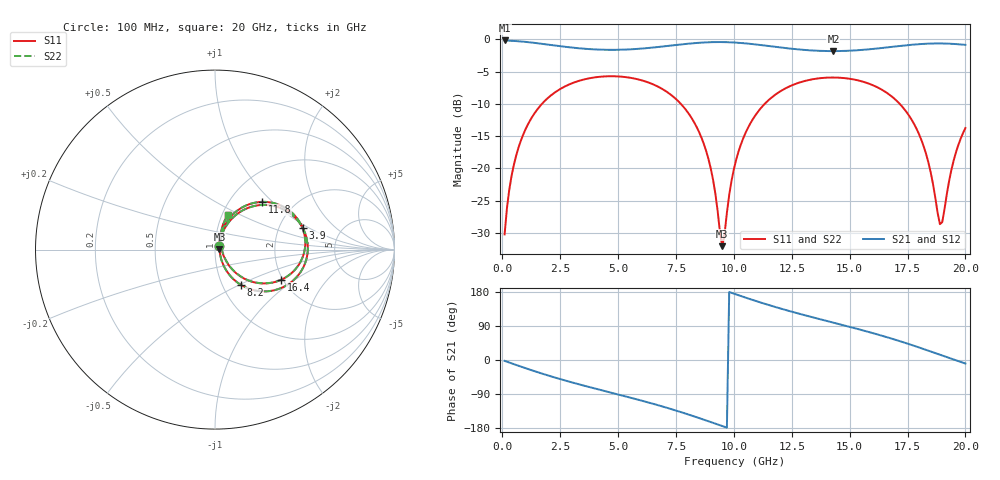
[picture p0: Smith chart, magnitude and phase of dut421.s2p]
! Touchstone file exported from HFSS 2026.1.0
!  File:  C:/ffzhzh/LocalFiles/Ansys_Project_Files/temp_train_TSV_RDL_421_1783095735_50312.aedt
!  Generated:  12:36:20 AM Jul  4, 2026
!  Design:  TSV_RDL
!  Project:  temp_train_TSV_RDL_421_1783095735_50312
! Variables:
!  h_bsmrdl = 5.95um
!  h_ox = 20um
!  h_rdl = 5um
!  h_sub = 50.88um
!  h_tmrdl = 3.98um
!  h_tsv = 50.88um
!  h_via = 3um
!  l_bsmrdl = 965.18um
!  l_sub = 6599.55um
!  l_tmrdl = 789.05um
!  m_sub = 200um
!  pitch = 51.45um
!  r_tsv = 7.03um
!  s_tmrdl = 10um
!  w_bsmrdl = 28.48um
!  w_sub = 500um
!  w_tmrdl = 20.79um
!  x_tsv_center1 = 799.445um
!  x_tsv_center2 = 1793.105um
!  x_tsv_center3 = 2602.945um
!  x_tsv_center4 = 3596.605um
!  x_tsv_center5 = 4406.445um
!  x_tsv_center6 = 5400.105um
# GHz S MA R 50.000000
! Terminal data exported
! Port[1] = TM_RDL1_1_T1
! Port[2] = TM_RDL5_1_T1
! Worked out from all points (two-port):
!   200 points, 100 MHz to 20 GHz, reference 50 ohm
!   highest |S21| = -0.19 dB at 100 MHz (marker M1); lowest = -1.8 dB at 14.3 GHz (marker M2)
!   |S21| within 3 dB of the highest: start of sweep to end of sweep
!   lowest |S11| = -32.0 dB at 9.5 GHz (marker M3), VSWR 1.05, Z = 52.6 + j0.0797 ohm
!   |S11| at or under -10 dB: start of sweep to 1.715 GHz; 7.71 GHz to 11.33 GHz (3.625 GHz wide, 38.1 % of centre); 17.16 GHz to end of sweep
!   |S22| runs from -32.1 to -5.7 dB; largest |S21 - S12| = 1.5e-14
!   S11 on the Smith chart (normalised r, x): 100 MHz: 1.04, +0.05; 3.9 GHz: 2.71, +0.87; 8.2 GHz: 1.22, -0.50; 11.8 GHz: 1.40, +0.87; 16.4 GHz: 1.96, -0.79; 20 GHz: 1.06, +0.43
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0.1  0.03093 44.2  0.9784 -2.3  0.9784 -2.3  0.03093 44.2
! Gamma 0 0 0 0
! Port Impedance 50 0 50 0
0.5  0.1068 65.7  0.97 -11.0  0.97 -11.0  0.1068 65.7
1.1  0.2181 59.6  0.9501 -23.6  0.9501 -23.6  0.2181 59.6
2.1  0.3674 42.7  0.9026 -43.1  0.9026 -43.1  0.3674 42.7
3.5  0.4871 19.9  0.8454 -67.3  0.8454 -67.3  0.487 19.9
3.9  0.5039 13.7  0.8358 -73.7  0.8358 -73.7  0.5039 13.7
5.3  0.51 -7.3  0.8316 -95.6  0.8316 -95.6  0.51 -7.3
6.8  0.4229 -30.7  0.8734 -120.5  0.8734 -120.5  0.4228 -30.7
8.2  0.2418 -53.9  0.9295 -147.1  0.9295 -147.1  0.2417 -53.9
9  0.1006 -61.5  0.9488 -163.7  0.9488 -163.7  0.1005 -61.7
9.5  0.02505 1.7  0.9506 -174.3  0.9506 -174.3  0.0247 1.8
10.1  0.1167 69.0  0.9413 173.0  0.9413 173.0  0.1167 69.2
10.8  0.2374 61.5  0.9175 158.7  0.9175 158.7  0.2374 61.6
11.8  0.3736 45.4  0.8729 139.7  0.8729 139.7  0.3736 45.4
13.4  0.49 20.5  0.8182 112.7  0.8182 112.7  0.49 20.6
14.3  0.5057 7.3  0.8095 98.5  0.8095 98.5  0.5057 7.3
16.4  0.4062 -24.4  0.8556 64.0  0.8556 64.0  0.4062 -24.2
16.7  0.3745 -29.1  0.8676 58.6  0.8676 58.6  0.3746 -29.0
18.1  0.166 -48.6  0.9185 31.0  0.9185 31.0  0.1662 -48.2
18.9  0.03708 0.9  0.9276 13.9  0.9276 13.9  0.03816 1.4
19.5  0.1165 71.8  0.9196 1.1  0.9196 1.1  0.1169 71.3
20  0.2056 69.8  0.9044 -9.4  0.9044 -9.4  0.2058 69.5
